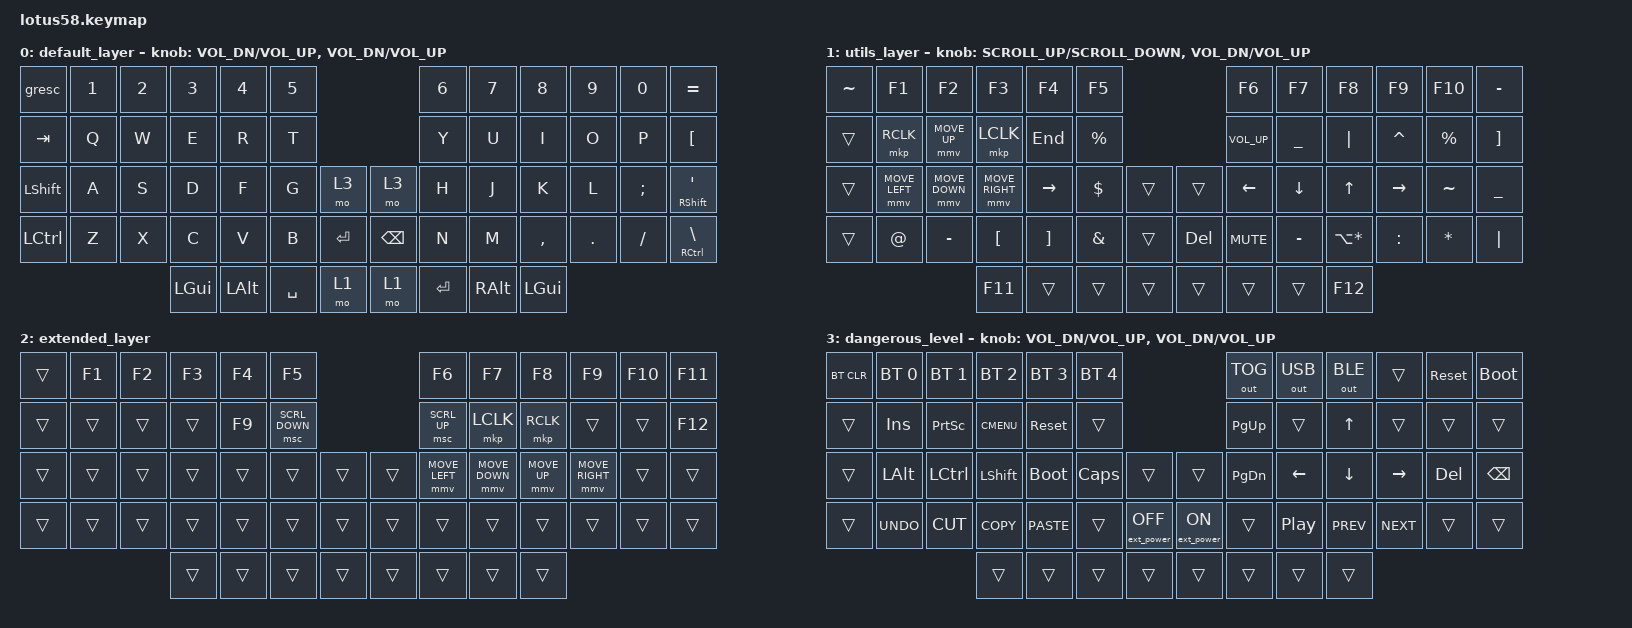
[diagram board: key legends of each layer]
/*
 * Copyright (c) 2020 The ZMK Contributors
 *
 * SPDX-License-Identifier: MIT
 */

#define ZMK_POINTING_DEFAULT_MOVE_VAL 900
#define ZMK_POINTING_DEFAULT_SCRL_VAL 15

#include <behaviors.dtsi>
#include <dt-bindings/zmk/bt.h>
#include <dt-bindings/zmk/ext_power.h>
#include <dt-bindings/zmk/keys.h>
#include <dt-bindings/zmk/outputs.h>
#include <dt-bindings/zmk/pointing.h>
#include <dt-bindings/zmk/pointing.h>
#include <dt-bindings/zmk/pointing.h>

/ {
    combos {
        compatible = "zmk,combos";

        grave1 {
            bindings = <&kp GRAVE>;
            key-positions = <24 0>;
            layers = <0>;
        };

        layer3 {
            bindings = <&mo 2>;
            key-positions = <56 55>;
            timeout-ms = <0>;
        };
    };

    keymap {
        compatible = "zmk,keymap";

        default_layer {
            //   ------------------------------------------------------------------------------------------------------------
            //  0|  ESC  |  1  |  2  |  3   |  4   |  5   |                     |  6   |  7    |  8    |  9   |   0   |   =   | 11
            // 12|  TAB  |  Q  |  W  |  E   |  R   |  T   |                     |  Y   |  U    |  I    |  O   |   P   |   [   | 23
            // 24|  SFT  |  A  |  S  |  D   |  F   |  G   |  RESET  |  | RESET  |  H   |  J    |  K    |  L   |   ;   | ' SFT | 37
            // 38|  CTRL |  Z  |  X  |  C   |  V   |  B   |  MUTE   |  | PLAY   |  N   |  M    |  ,    |  .   |   /   | \ CTRL| 51
            // 52                    |ENT RS|  ALT | SPACE|DELETE LW|  |ENTER RS| BSPC |  ] LW | RGUI  |                        59

            bindings = <
&gresc     &kp N1  &kp N2  &kp N3    &kp N4    &kp N5                               &kp N6     &kp N7         &kp N8     &kp N9   &kp N0    &kp EQUAL
&kp TAB    &kp Q   &kp W   &kp E     &kp R     &kp T                                &kp Y      &kp U          &kp I      &kp O    &kp P     &kp LBKT
&kp LSHFT  &kp A   &kp S   &kp D     &kp F     &kp G      &mo 3      &mo 3          &kp H      &kp J          &kp K      &kp L    &kp SEMI  &mt RSHFT SQT
&kp LCTRL  &kp Z   &kp X   &kp C     &kp V     &kp B      &kp ENTER  &kp BACKSPACE  &kp N      &kp M          &kp COMMA  &kp DOT  &kp FSLH  &mt RCTRL BSLH
                           &kp LGUI  &kp LALT  &kp SPACE  &mo 1      &mo 1          &kp ENTER  &kp RIGHT_ALT  &kp LGUI
            >;

            sensor-bindings = <&inc_dec_kp C_VOL_DN C_VOL_UP &inc_dec_kp C_VOL_DN C_VOL_UP>;
        };

        utils_layer {
            // ------------------------------------------------------------------------------------------------------------
            // | `     |  F1 |  F2 |  F3  |  F4  |  F5  |                   |  F6  |  F7   |  F8   |  F9  |  F10  |  F11  |
            // |       |  !  | HOME|   ^  |  END |  %   |                   | VOL^ |  PGUP |  INS  |  ^   |  PSCR |   -   |
            // |       |  #  |  <- |   v  | ->   |  $   |        |  |       | VOLv |    <- |   ^   |  ->  |   ~   |   _   |
            // |       |  @  |  -  |  (   |  )   |  &   |        |  |       | MUTE |  PGDN |   v   |  :   |   *   |   |   |
            //                     |  F11 |      |      |        |  |       |      |       |  F12  |

            bindings = <
&kp TILDE  &kp F1          &kp F2          &kp F3            &kp F4             &kp F5                         &kp F6          &kp F7          &kp F8            &kp F9     &kp F10      &kp MINUS
&trans     &mkp RCLK       &mmv MOVE_UP    &mkp LCLK         &kp END            &kp PRCNT                      &kp C_VOL_UP    &kp UNDER       &kp PIPE          &kp CARET  &kp PERCENT  &kp RIGHT_BRACKET
&trans     &mmv MOVE_LEFT  &mmv MOVE_DOWN  &mmv MOVE_RIGHT   &kp RIGHT          &kp DLLR   &trans  &trans      &kp LEFT_ARROW  &kp DOWN_ARROW  &kp UP            &kp RIGHT  &kp TILDE    &kp UNDER
&trans     &kp AT          &kp MINUS       &kp LEFT_BRACKET  &kp RIGHT_BRACKET  &kp AMPS   &trans  &kp DELETE  &kp C_MUTE      &kp MINUS       &kp LA(ASTERISK)  &kp COLON  &kp STAR     &kp PIPE
                                           &kp F11           &trans             &trans     &trans  &trans      &trans          &trans          &kp F12
            >;

            sensor-bindings =
                <&inc_dec_kp K_SCROLL_UP K_SCROLL_DOWN>,
                <&inc_dec_kp C_VOL_DN C_VOL_UP>;
        };

        extended_layer {
            bindings = <
&trans  &kp F1  &kp F2  &kp F3  &kp F4  &kp F5                          &kp F6          &kp F7          &kp F8        &kp F9           &kp F10  &kp F11
&trans  &trans  &trans  &trans  &kp F9  &msc SCRL_DOWN                  &msc SCRL_UP    &mkp LCLK       &mkp RCLK     &trans           &trans   &kp F12
&trans  &trans  &trans  &trans  &trans  &trans          &trans  &trans  &mmv MOVE_LEFT  &mmv MOVE_DOWN  &mmv MOVE_UP  &mmv MOVE_RIGHT  &trans   &trans
&trans  &trans  &trans  &trans  &trans  &trans          &trans  &trans  &trans          &trans          &trans        &trans           &trans   &trans
                        &trans  &trans  &trans          &trans  &trans  &trans          &trans          &trans
            >;
        };

        dangerous_level {
            // ------------------------------------------------------------------------------------------------------------
            // |BTCLR| BT1  | BT2  |  BT3  |  BT4  |  BT5 |                |OUTTOG|OUTUSB| OUTBT |      | RESET | FLASH |
            // |     | INS  | PSCR | GUI   | RESET |      |                | PGUP |      |   ^   |      |       |       |
            // |     | ALT  | CTRL | SHIFT | FLASH | CAPS |      |  |      | PGDN |   <- |   v   |  ->  |  DEL  | BSPC  |
            // |     | UNDO | CUT  | COPY  | PASTE |      |      |  |      |      |  |>  |  <|<| | |>|> |       |       |
            //                     |       |       |      |      |  |      |      |      |       |

            bindings = <
&bt BT_CLR  &bt BT_SEL 0  &bt BT_SEL 1  &bt BT_SEL 2  &bt BT_SEL 3  &bt BT_SEL 4                                       &out OUT_TOG  &out OUT_USB  &out OUT_BLE  &trans      &sys_reset  &bootloader
&trans      &kp INS       &kp PSCRN     &kp K_CMENU   &sys_reset    &trans                                             &kp PG_UP     &trans        &kp UP        &trans      &trans      &trans
&trans      &kp LALT      &kp LCTRL     &kp LSHFT     &bootloader   &kp CLCK      &trans             &trans            &kp PG_DN     &kp LEFT      &kp DOWN      &kp RIGHT   &kp DEL     &kp BSPC
&trans      &kp K_UNDO    &kp K_CUT     &kp K_COPY    &kp K_PASTE   &trans        &ext_power EP_OFF  &ext_power EP_ON  &trans        &kp C_PP      &kp C_PREV    &kp C_NEXT  &trans      &trans
                                        &trans        &trans        &trans        &trans             &trans            &trans        &trans        &trans
            >;

            sensor-bindings = <&inc_dec_kp C_VOL_DN C_VOL_UP &inc_dec_kp C_VOL_DN C_VOL_UP>;
        };
    };
};
